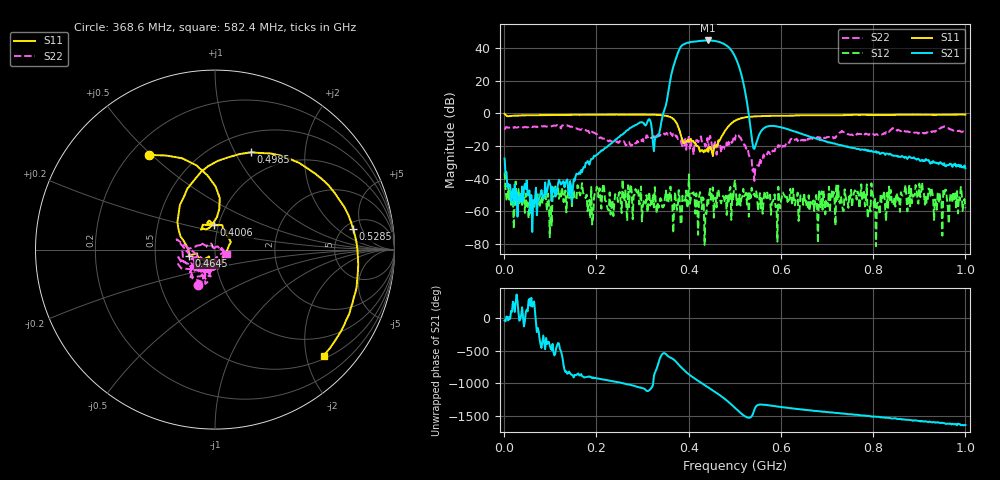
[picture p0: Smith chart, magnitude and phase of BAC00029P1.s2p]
!measured: 2026-10-27T15:06:28
!cal_instance: BBtestOct27
!cal_created: 2026-10-27T14:45
!cal_file: BBtesting.cal
!port1_delay_ps: -58.63
!port2_delay_ps: -59.31
!host: dhcp-10-250-247-203.harvard.edu
! Created with skrf 2.1.0 (http://scikit-rf.org).
# Hz S RI R 50.0
!freq ReS11 ImS11 ReS21 ImS21 ReS12 ImS12 ReS22 ImS22
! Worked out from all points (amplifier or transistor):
!   501 points, 1 MHz to 1 GHz, reference 50 ohm
!   highest |S21| = 44.7 dB at 442.6 MHz (marker M1)
!   |S21| within 3 dB of that: 385.8 MHz to 481.7 MHz (95.95 MHz wide, 22.1 % of centre)
!   unconditionally stable (mu >= 1): start of sweep to 400.2 MHz; 401.1 MHz to 446.4 MHz; 501.3 MHz to end of sweep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
!   at 166.8 MHz: K = 1098.12, MAG = -26.7 dB, |S12| = -48.0 dB
!   at 500.5 MHz: K = 0.79, MSG = 37.8 dB, |S12| = -40.8 dB
!   at 1 GHz: K = 2613.26, MAG = -25.0 dB, |S12| = -58.1 dB
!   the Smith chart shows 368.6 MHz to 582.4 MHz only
!   S11 on the Smith chart (normalised r, x): 368.6 MHz: 0.27, +0.49; 400.6 MHz: 0.95, +0.26; 464.5 MHz: 0.74, -0.05; 498.5 MHz: 0.71, +1.17; 528.5 MHz: 6.01, +3.45; 582.4 MHz: 0.56, -2.34
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1000000  -0.3699 0.8987  0.0313 -0.0273  0.00302 0.0152  0.3188 -0.00466
1.68832e8  0.4966 -0.76  -0.0155 -0.00298  0.00141 -0.0072  -0.022 -0.3297
3.34666e8  -0.8443 -0.3051  0.1789 0.1169  0.000324 -0.00125  0.0129 -0.2031
3.68632e8  -0.3665 0.5277  6.764 32.01  -0.00145 -0.000258  -0.0944 -0.1946
3.76624e8  -0.0412 0.4129  67.31 21.86  0.00143 0.000673  -0.1355 -0.0914
3.84616e8  0.0111 0.1812  89.41 -76.61  -0.000338 0.000258  -0.1021 -0.0603
3.92608e8  -0.0644 0.1162  -12.29 -136.4  0.000755 -0.00201  -0.1396 -0.1264
4.006e8  -0.00572 0.1357  -112.3 -91.25  -0.00774 -0.0112  -0.2137 0.0575
4.1059e8  0.0412 0.1365  -153.4 37.04  0.0006 -0.00379  -0.0183 -0.0507
4.24576e8  0.0673 -0.00331  -31.61 163.2  -0.00327 -0.00209  -0.0383 -0.1778
4.42558e8  -0.00408 -0.0662  161.5 57.68  -0.00148 0.000835  -0.0196 -0.0836
4.52548e8  -0.0334 -0.0383  150.6 -74.87  -0.00427 -0.00338  0.0474 -0.0134
4.64536e8  -0.1462 -0.033  16.55 -156  -0.00209 0.00421  -0.0875 -0.1052
4.8052e8  -0.1961 0.2477  -122.3 -25.75  -0.00282 0.0011  -0.0281 -0.0797
4.9051e8  -0.0379 0.4649  -62.23 69.21  -0.00541 0.00154  -0.0315 -0.1109
4.98502e8  0.2021 0.5423  9.915 61.93  0.00582 0.00055  -0.1925 -0.0553
5.005e8  0.2421 0.539  20.76 51.13  -0.00478 -0.00776  -0.1079 -0.1119
5.28472e8  0.7704 0.113  0.2319 -1.417  0.00351 -0.00216  -0.0707 0.0329
5.82418e8  0.6049 -0.5917  -0.0541 0.4101  0.00185 -0.000755  0.0679 -0.0247
6.68332e8  0.0857 -0.8763  0.1636 0.0806  -0.000476 0.00158  0.0254 -0.1643
8.34166e8  -0.5699 -0.6902  0.00367 -0.0547  -0.00559 0.00128  -0.1545 -0.2241
1e9  -0.8778 -0.2853  -0.0202 0.00498  -0.000377 0.00119  -0.2383 -0.1549
